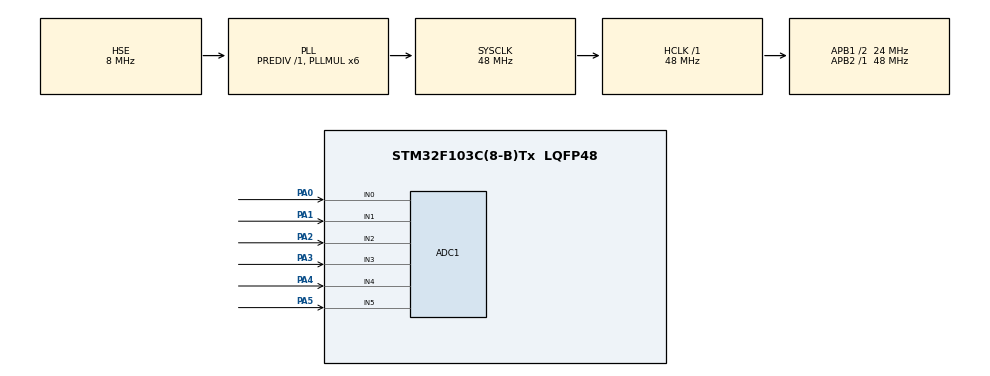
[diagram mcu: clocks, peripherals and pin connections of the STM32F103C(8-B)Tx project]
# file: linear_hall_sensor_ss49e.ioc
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ADC1.Channel-1\#ChannelRegularConversion=ADC_CHANNEL_0
ADC1.Channel-2\#ChannelRegularConversion=ADC_CHANNEL_1
ADC1.Channel-3\#ChannelRegularConversion=ADC_CHANNEL_2
ADC1.Channel-4\#ChannelRegularConversion=ADC_CHANNEL_3
ADC1.Channel-5\#ChannelRegularConversion=ADC_CHANNEL_4
ADC1.Channel-6\#ChannelRegularConversion=ADC_CHANNEL_5
ADC1.ContinuousConvMode=ENABLE
ADC1.NbrOfConversion=6
ADC1.NbrOfConversionFlag=1
ADC1.Rank-1\#ChannelRegularConversion=1
ADC1.Rank-2\#ChannelRegularConversion=2
ADC1.Rank-3\#ChannelRegularConversion=3
ADC1.Rank-4\#ChannelRegularConversion=4
ADC1.Rank-5\#ChannelRegularConversion=5
ADC1.Rank-6\#ChannelRegularConversion=6
ADC1.SamplingTime-1\#ChannelRegularConversion=ADC_SAMPLETIME_1CYCLE_5
ADC1.SamplingTime-2\#ChannelRegularConversion=ADC_SAMPLETIME_1CYCLE_5
ADC1.SamplingTime-3\#ChannelRegularConversion=ADC_SAMPLETIME_1CYCLE_5
ADC1.SamplingTime-4\#ChannelRegularConversion=ADC_SAMPLETIME_1CYCLE_5
ADC1.SamplingTime-5\#ChannelRegularConversion=ADC_SAMPLETIME_1CYCLE_5
ADC1.SamplingTime-6\#ChannelRegularConversion=ADC_SAMPLETIME_1CYCLE_5
ADC1.master=1
Dma.ADC1.0.Direction=DMA_PERIPH_TO_MEMORY
Dma.ADC1.0.Instance=DMA1_Channel1
Dma.ADC1.0.MemDataAlignment=DMA_MDATAALIGN_HALFWORD
Dma.ADC1.0.MemInc=DMA_MINC_ENABLE
Dma.ADC1.0.Mode=DMA_NORMAL
Dma.ADC1.0.PeriphDataAlignment=DMA_PDATAALIGN_HALFWORD
Dma.ADC1.0.PeriphInc=DMA_PINC_DISABLE
Dma.ADC1.0.Priority=DMA_PRIORITY_LOW
Dma.Request0=ADC1
Mcu.Family=STM32F1
Mcu.Name=STM32F103C(8-B)Tx
Mcu.Package=LQFP48
NVIC.DMA1_Channel1_IRQn=true\:0\:0\:false\:false\:true\:false\:true\:true
NVIC.PriorityGroup=NVIC_PRIORITYGROUP_4
PA0-WKUP.Signal=ADCx_IN0
PA1.Signal=ADCx_IN1
PA13.Mode=Serial_Wire
PA13.Signal=SYS_JTMS-SWDIO
PA14.Mode=Serial_Wire
PA14.Signal=SYS_JTCK-SWCLK
PA2.Signal=ADCx_IN2
PA3.Signal=ADCx_IN3
PA4.Signal=ADCx_IN4
PA5.Signal=ADCx_IN5
PD0-OSC_IN.Mode=HSE-External-Oscillator
PD0-OSC_IN.Signal=RCC_OSC_IN
PD1-OSC_OUT.Mode=HSE-External-Oscillator
PD1-OSC_OUT.Signal=RCC_OSC_OUT
ProjectManager.HeapSize=0x200
ProjectManager.StackSize=0x400
ProjectManager.TargetToolchain=STM32CubeIDE
RCC.ADCPresc=RCC_ADCPCLK2_DIV4
RCC.AHBFreq_Value=48000000
RCC.APB1CLKDivider=RCC_HCLK_DIV2
RCC.APB1Freq_Value=24000000
RCC.APB1TimFreq_Value=48000000
RCC.APB2Freq_Value=48000000
RCC.APB2TimFreq_Value=48000000
RCC.EnbaleCSS=true
RCC.HCLKFreq_Value=48000000
RCC.PLLMUL=RCC_PLL_MUL6
RCC.PLLSourceVirtual=RCC_PLLSOURCE_HSE
RCC.SYSCLKFreq_VALUE=48000000
RCC.SYSCLKSource=RCC_SYSCLKSOURCE_PLLCLK
RCC.USBFreq_Value=48000000
SH.ADCx_IN0.0=ADC1_IN0,IN0
SH.ADCx_IN1.0=ADC1_IN1,IN1
SH.ADCx_IN2.0=ADC1_IN2,IN2
SH.ADCx_IN3.0=ADC1_IN3,IN3
SH.ADCx_IN4.0=ADC1_IN4,IN4
SH.ADCx_IN5.0=ADC1_IN5,IN5
board=custom

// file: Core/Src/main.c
/* USER CODE BEGIN Header */
/**
 ******************************************************************************
 * @file           : main.c
 * @brief          : Main program body
 ******************************************************************************
 * @attention
 *
 * Copyright (c) 2023 STMicroelectronics.
 * All rights reserved.
 *
 * This software is licensed under terms that can be found in the LICENSE file
 * in the root directory of this software component.
 * If no LICENSE file comes with this software, it is provided AS-IS.
 *
 ******************************************************************************
 */
/* USER CODE END Header */
#include "main.h"

ADC_HandleTypeDef hadc1;
DMA_HandleTypeDef hdma_adc1;

/* USER CODE BEGIN PV */
uint16_t adc[48] = { 0, }; // 6 каналов опрашиваются по 8 раз каждый
volatile uint8_t adc_flag = 0;
uint8_t adc_flag_first = 1;

uint32_t adc0 = 0;
uint32_t adc_vref = 0;
uint32_t adc_in0 = 0;
uint32_t adc3 = 0;
uint32_t adc4 = 0;
uint32_t adc5 = 0;

uint32_t adc0_init = 0;
uint32_t adc1_init = 0;
uint32_t adc2_init = 0;
uint32_t adc3_init = 0;
uint32_t adc4_init = 0;
uint32_t adc5_init = 0;

int32_t dif0 = 0;
int32_t dif1 = 0;
int32_t dif2 = 0;
int32_t dif3 = 0;
int32_t dif4 = 0;
int32_t dif5 = 0;

int32_t cm1 = 0;
int32_t dm1 = 0;
int32_t cm2 = 0;
int32_t dm2 = 0;
int32_t cm3 = 0;
int32_t dm3 = 0;

int32_t z = 0;
int32_t y = 0;
int32_t x = 0;
int32_t rz = 0;
int32_t rx = 0;
int32_t ry = 0;

/* USER CODE END PV */

void SystemClock_Config(void);
static void MX_GPIO_Init(void);
static void MX_DMA_Init(void);
static void MX_ADC1_Init(void);

int main(void)
{

  /* MCU Configuration--------------------------------------------------------*/

  /* Reset of all peripherals, Initializes the Flash interface and the Systick. */
  HAL_Init();

  /* Configure the system clock */
  SystemClock_Config();

  /* Initialize all configured peripherals */
  MX_GPIO_Init();
  MX_DMA_Init();
  MX_ADC1_Init();
  /* USER CODE BEGIN 2 */
  HAL_ADCEx_Calibration_Start(&hadc1);
  HAL_ADC_Start_DMA(&hadc1, (uint32_t*) &adc, 48); // Запускаем АЦП DMA
  /* USER CODE END 2 */

  /* Infinite loop */
  /* USER CODE BEGIN WHILE */
  while (1) {
    if (adc_flag) {
      adc_flag = 0;

      if (adc_flag_first) {
        adc_flag_first = 0;

        // Проводим вычисления только один раз, от этих значений будет отсчитываться смещение
        for (uint8_t i = 0; i < 48; i += 6) {
          adc0_init += adc[i];
          adc1_init += adc[i + 1];
          adc2_init += adc[i + 2];
          adc3_init += adc[i + 3];
          adc4_init += adc[i + 4];
          adc5_init += adc[i + 5];
        }
        // Вычисляем среднее значение для каждой линии
        adc0_init >>= 3;
        adc1_init >>= 3;
        adc2_init >>= 3;
        adc3_init >>= 3;
        adc4_init >>= 3;
        adc5_init >>= 3;
        // Запускаем новое преобразование ADC
        HAL_ADC_Start_DMA(&hadc1, (uint32_t*) &adc, 48);
        // Дальнейший код игнорируем, переходим к следующей итерации цикла while
        continue;
      }

      for (uint8_t i = 0; i < 48; i += 6) {
        adc0 += adc[i];
        adc_vref += adc[i + 1];
        adc_in0 += adc[i + 2];
        adc3 += adc[i + 3];
        adc4 += adc[i + 4];
        adc5 += adc[i + 5];
      }
      // Вычисляем среднее значение для каждой линии
      adc0 >>= 3;
      adc_vref >>= 3;
      adc_in0 >>= 3;
      adc3 >>= 3;
      adc4 >>= 3;
      adc5 >>= 3;

      // Вычисляем произошедшее смещение
      dif0 = adc0_init - adc0;
      dif1 = adc1_init - adc_vref;
      dif2 = adc2_init - adc_in0;
      dif3 = adc3_init - adc3;
      dif4 = adc4_init - adc4;
      dif5 = adc5_init - adc5;

      // Получаем суммы и разности
      cm1 = dif0 + dif1;
      dm1 = dif0 - dif1;
      cm2 = dif2 + dif3;
      dm2 = dif2 - dif3;
      cm3 = dif4 + dif5;
      dm3 = dif4 - dif5;

      // Вычисляем трансформацию
      z = cm1 + cm2 + cm3;
      y = -dm1 + dm3;
      x = -(dm2 - dm1 / 2 - dm3 / 2);
      rz = dm1 + dm2 + dm3;
      rx = cm1 / 2 - cm2 + cm3 / 2;
      ry = -cm1 + cm3;

      HAL_Delay(100);
      HAL_ADC_Start_DMA(&hadc1, (uint32_t*) &adc, 48);
    }
    /* USER CODE END WHILE */

  }
}

void SystemClock_Config(void)
{
  RCC_OscInitTypeDef RCC_OscInitStruct = {0};
  RCC_ClkInitTypeDef RCC_ClkInitStruct = {0};
  RCC_PeriphCLKInitTypeDef PeriphClkInit = {0};

  /** Initializes the RCC Oscillators according to the specified parameters
  * in the RCC_OscInitTypeDef structure.
  */
  RCC_OscInitStruct.OscillatorType = RCC_OSCILLATORTYPE_HSE;
  RCC_OscInitStruct.HSEState = RCC_HSE_ON;
  RCC_OscInitStruct.HSEPredivValue = RCC_HSE_PREDIV_DIV1;
  RCC_OscInitStruct.HSIState = RCC_HSI_ON;
  RCC_OscInitStruct.PLL.PLLState = RCC_PLL_ON;
  RCC_OscInitStruct.PLL.PLLSource = RCC_PLLSOURCE_HSE;
  RCC_OscInitStruct.PLL.PLLMUL = RCC_PLL_MUL6;
  if (HAL_RCC_OscConfig(&RCC_OscInitStruct) != HAL_OK)
  {
    Error_Handler();
  }

  /** Initializes the CPU, AHB and APB buses clocks
  */
  RCC_ClkInitStruct.ClockType = RCC_CLOCKTYPE_HCLK|RCC_CLOCKTYPE_SYSCLK
                              |RCC_CLOCKTYPE_PCLK1|RCC_CLOCKTYPE_PCLK2;
  RCC_ClkInitStruct.SYSCLKSource = RCC_SYSCLKSOURCE_PLLCLK;
  RCC_ClkInitStruct.AHBCLKDivider = RCC_SYSCLK_DIV1;
  RCC_ClkInitStruct.APB1CLKDivider = RCC_HCLK_DIV2;
  RCC_ClkInitStruct.APB2CLKDivider = RCC_HCLK_DIV1;

  if (HAL_RCC_ClockConfig(&RCC_ClkInitStruct, FLASH_LATENCY_1) != HAL_OK)
  {
    Error_Handler();
  }
  PeriphClkInit.PeriphClockSelection = RCC_PERIPHCLK_ADC;
  PeriphClkInit.AdcClockSelection = RCC_ADCPCLK2_DIV4;
  if (HAL_RCCEx_PeriphCLKConfig(&PeriphClkInit) != HAL_OK)
  {
    Error_Handler();
  }

  /** Enables the Clock Security System
  */
  HAL_RCC_EnableCSS();
}

static void MX_ADC1_Init(void)
{

  ADC_ChannelConfTypeDef sConfig = {0};

  /** Common config
  */
  hadc1.Instance = ADC1;
  hadc1.Init.ScanConvMode = ADC_SCAN_ENABLE;
  hadc1.Init.ContinuousConvMode = ENABLE;
  hadc1.Init.DiscontinuousConvMode = DISABLE;
  hadc1.Init.ExternalTrigConv = ADC_SOFTWARE_START;
  hadc1.Init.DataAlign = ADC_DATAALIGN_RIGHT;
  hadc1.Init.NbrOfConversion = 6;
  if (HAL_ADC_Init(&hadc1) != HAL_OK)
  {
    Error_Handler();
  }

  /** Configure Regular Channel
  */
  sConfig.Channel = ADC_CHANNEL_0;
  sConfig.Rank = ADC_REGULAR_RANK_1;
  sConfig.SamplingTime = ADC_SAMPLETIME_1CYCLE_5;
  if (HAL_ADC_ConfigChannel(&hadc1, &sConfig) != HAL_OK)
  {
    Error_Handler();
  }

  /** Configure Regular Channel
  */
  sConfig.Channel = ADC_CHANNEL_1;
  sConfig.Rank = ADC_REGULAR_RANK_2;
  if (HAL_ADC_ConfigChannel(&hadc1, &sConfig) != HAL_OK)
  {
    Error_Handler();
  }

  /** Configure Regular Channel
  */
  sConfig.Channel = ADC_CHANNEL_2;
  sConfig.Rank = ADC_REGULAR_RANK_3;
  if (HAL_ADC_ConfigChannel(&hadc1, &sConfig) != HAL_OK)
  {
    Error_Handler();
  }

  /** Configure Regular Channel
  */
  sConfig.Channel = ADC_CHANNEL_3;
  sConfig.Rank = ADC_REGULAR_RANK_4;
  if (HAL_ADC_ConfigChannel(&hadc1, &sConfig) != HAL_OK)
  {
    Error_Handler();
  }

  /** Configure Regular Channel
  */
  sConfig.Channel = ADC_CHANNEL_4;
  sConfig.Rank = ADC_REGULAR_RANK_5;
  if (HAL_ADC_ConfigChannel(&hadc1, &sConfig) != HAL_OK)
  {
    Error_Handler();
  }

  /** Configure Regular Channel
  */
  sConfig.Channel = ADC_CHANNEL_5;
  sConfig.Rank = ADC_REGULAR_RANK_6;
  if (HAL_ADC_ConfigChannel(&hadc1, &sConfig) != HAL_OK)
  {
    Error_Handler();
  }

}

static void MX_DMA_Init(void)
{

  /* DMA controller clock enable */
  __HAL_RCC_DMA1_CLK_ENABLE();

  /* DMA interrupt init */
  /* DMA1_Channel1_IRQn interrupt configuration */
  HAL_NVIC_SetPriority(DMA1_Channel1_IRQn, 0, 0);
  HAL_NVIC_EnableIRQ(DMA1_Channel1_IRQn);

}

static void MX_GPIO_Init(void)
{

  /* GPIO Ports Clock Enable */
  __HAL_RCC_GPIOD_CLK_ENABLE();
  __HAL_RCC_GPIOA_CLK_ENABLE();

}

/* USER CODE BEGIN 4 */
void HAL_ADC_ConvCpltCallback(ADC_HandleTypeDef *hadc) {
  if (hadc->Instance == ADC1) {
    HAL_ADC_Stop(&hadc1);
    adc_flag = 1;
  }
}
/* USER CODE END 4 */

void Error_Handler(void)
{
  __disable_irq();
  while (1) {
  }
}
